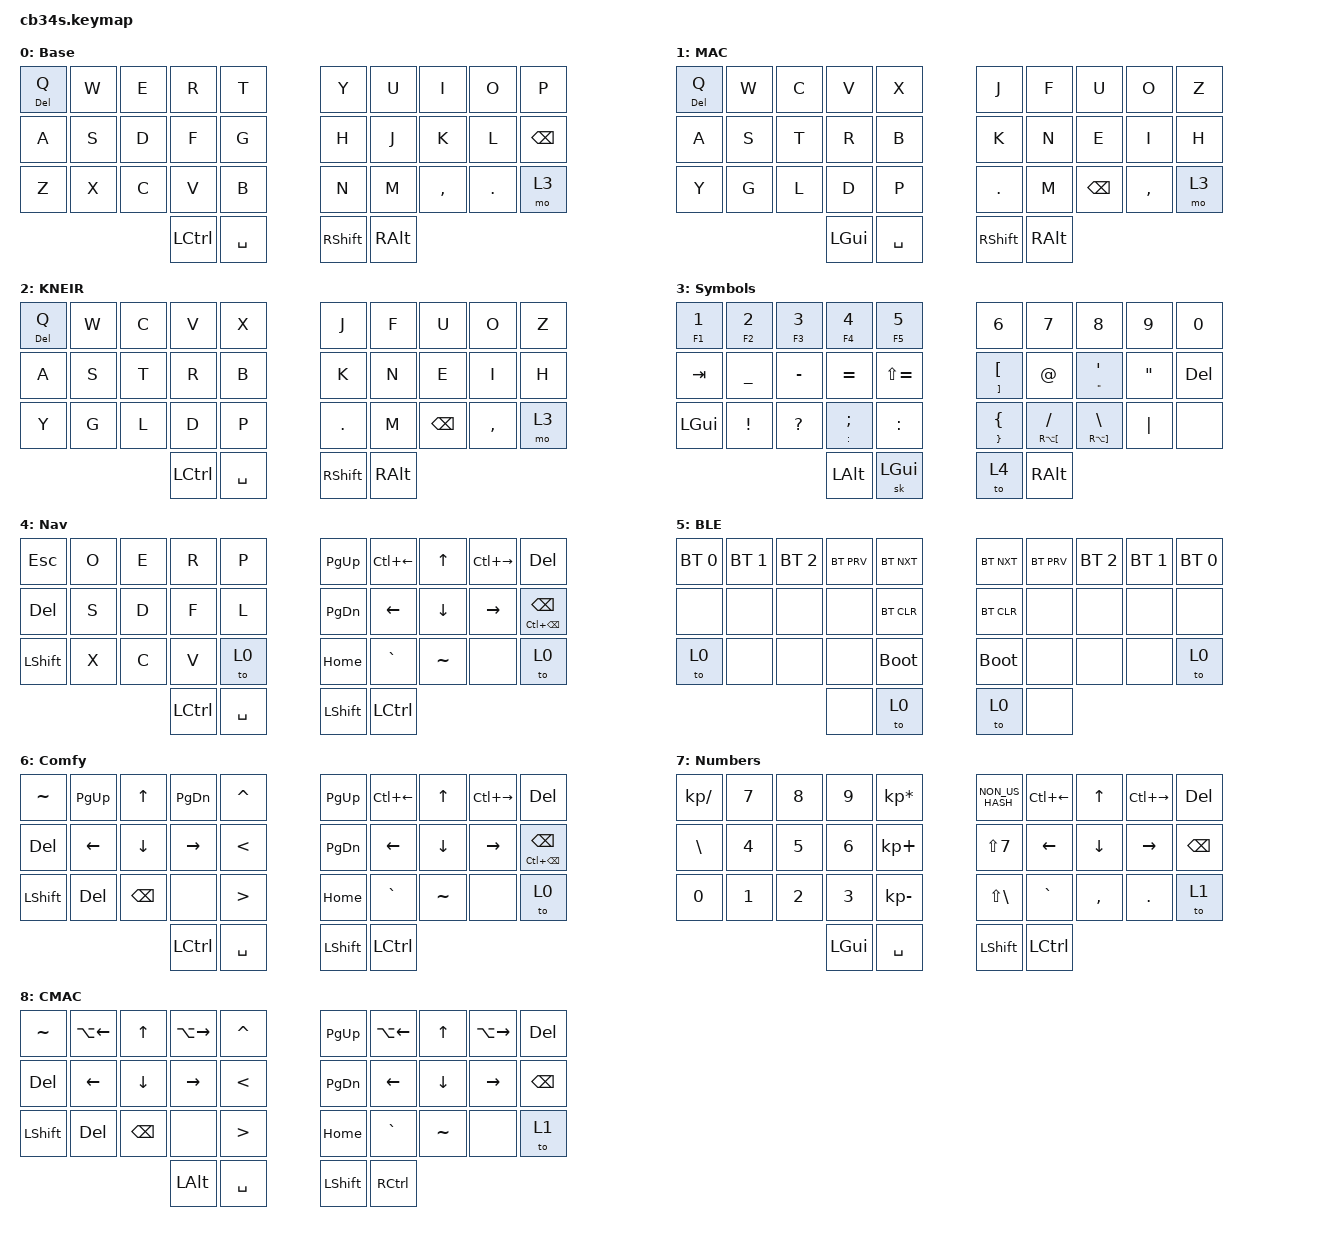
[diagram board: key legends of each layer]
/*
 * Copyright (c) 2020 The ZMK Contributors
 *
 * SPDX-License-Identifier: MIT
 */

#include <behaviors.dtsi>
#include <dt-bindings/zmk/keys.h>
#include <dt-bindings/zmk/bt.h>
#include "keymap_eurkey_swiss_de.h"

#define DEFAULT_L 	0
#define MAC_L	    1
#define KNEIR_L     2
#define NUMSYM_L 	3
#define NAV_L 		4
#define BLE_L 		5
#define COMFY_L		6
#define NUMBERS_L	7
#define COMMA_L	    8

// Using layer taps on thumbs, having quick tap as well helps w/ repeating space/backspace

&lt {
    quick_tap_ms = <200>;
};

// Sticky Layer Behavior - release sticky behavior after x ms

&sk {
    release-after-ms = <1800>;
};

// MACROS
// ===========================================================================================================
/*
	.----------------------------------------------------------------------.
	|  0  |  1  |  2  |  3  |  4  |          |  5  |  6  |  7  |  8  |  9  |
	|  10 |  11 |  12 |  13 |  14 |          |  15 |  16 |  17 |  18 |  19 |
	|  20 |  21 |  22 |  23 |  24 |          |  25 |  26 |  27 |  28 |  29 |
	'-----------------\  30 |  31 |          |  32 |  33 /-----------------'
	                   '--------------------------------'

*/
    / {
    macros {
        macro_sch: macro_sch {
            label = "Macro_sch";
            compatible = "zmk,behavior-macro";
            #binding-cells = <0>;
            bindings = <
                &macro_tap &kp S
                &macro_release &kp RSHIFT
                &macro_tap &kp C &kp H
            >;
            tap-ms = <20>;
            };
        
        macro_ch: macro_ch {
            label = "Macro_ch";
            compatible = "zmk,behavior-macro";
            #binding-cells = <0>;
            bindings = <
                &macro_tap &kp C
                &macro_release &kp RSHIFT
                &macro_tap &kp H
            >;
            tap-ms = <20>;
            };

        macro_zu: macro_zu {
            label = "Macro_zu";
            compatible = "zmk,behavior-macro";
            #binding-cells = <0>;
            bindings = <
                &macro_tap &kp Z
                &macro_release &kp RSHIFT
                &macro_tap &kp U
            >;
            tap-ms = <20>;
            };

        };
    };

// COMBOS
// ===========================================================================================================
/*
	.----------------------------------------------------------------------.
	|  0  |  1  |  2  |  3  |  4  |          |  5  |  6  |  7  |  8  |  9  |
	|  10 |  11 |  12 |  13 |  14 |          |  15 |  16 |  17 |  18 |  19 |
	|  20 |  21 |  22 |  23 |  24 |          |  25 |  26 |  27 |  28 |  29 |
	'-----------------\  30 |  31 |          |  32 |  33 /-----------------'
	                   '--------------------------------'
			
	ESC 	= 0 | 1			
	TAB 	= 11 | 12		LC(C)	= 17 | 18
							LC(V)	= 27 | 28
	ENTER 	= 12 | 13		SK(SFT) = 16 | 17       
	LPAR 	= 13 | 14		RPAR 	= 15 | 16       REPEAT 	= 18 | 19

	TO_4	= 21 | 22
	TO_0	= 22 | 23       TO_0	= 26 | 27 
	TO_3	= 20 | 21 | 22	TO_3	= 27 | 28 | 29
    TO_5    = 3  | 13       TO_5    = 6  | 16

*/

/ {
    combos {
        compatible = "zmk,combos";

        combo_esc {
            timeout-ms = <40>;
            key-positions = <0 1>;
            bindings = <&kp ESC>;
        };

        combo_tab {
            timeout-ms = <40>;
            key-positions = <11 12>;
            bindings = <&kp TAB>;
        };

        combo_enter {
            timeout-ms = <40>;
            key-positions = <12 13>;
            bindings = <&kp ENTER>;
        };

        combo_lpar {
            timeout-ms = <40>;
            key-positions = <13 14>;
            bindings = <&kp LPAR>;
        };

        combo_rpar {
            timeout-ms = <40>;
            key-positions = <15 16>;
            bindings = <&kp RPAR>;
        };

        combo_comfy_left {
            timeout-ms = <40>;
            key-positions = <21 22>;
            bindings = <&to COMFY_L>;
            layers = <0 2 3 4 5 6>;
        };

        combo_comfy_right {
            timeout-ms = <40>;
            key-positions = <27 28>;
            bindings = <&to COMFY_L>;
            layers = <0 2 3 4 5 6>;
        };

        combo_default_left {
            timeout-ms = <40>;
            key-positions = <22 23>;
            bindings = <&to DEFAULT_L>;
            layers = <4 5 6 7>;
        };

        combo_sk_shift {
            timeout-ms = <40>;
            key-positions = <16 17>;
            bindings = <&sk LSHIFT>;
        };

        combo_ble_left {
            timeout-ms = <40>;
            key-positions = <20 21 22>;
            bindings = <&to BLE_L>;
        };

        // CHECK

        combo_repeat {
            timeout-ms = <40>;
            key-positions = <18 19>;
            bindings = <&key_repeat>;
        };

        combo_default_left_MAC {
            timeout-ms = <40>;
            key-positions = <22 23>;
            bindings = <&to 1>;
            layers = <1 7 8>;
        };

        combo_comfy_left_MAC {
            timeout-ms = <40>;
            key-positions = <21 22>;
            bindings = <&to 8>;
            layers = <1 7 8>;
        };


        // BASE LAYERS

        combo_kneir_mac_layer {
            timeout-ms = <40>;
            key-positions = <6 9>;
            bindings = <&to 1>;
            layers = <0 2 3 4 5 6 7 8>;
        };

        combo_kneir_win_layer {
            timeout-ms = <40>;
            key-positions = <10 13>;
            bindings = <&to 2>;
            layers = <0 1 2 3 4 5 6 7 8>;
        };

        combo_qwerty_win_layer {
            timeout-ms = <40>;
            key-positions = <0 3>;
            bindings = <&to 0>;
            layers = <1 2 6 7 8>;
        };

        combo_number_layer_left {
            timeout-ms = <40>;
            key-positions = <20 23>;
            bindings = <&to NUMBERS_L>;
        };

        // SYMBOLS

        combo_dot {
            timeout-ms = <40>;
            key-positions = <26 27>;
            bindings = <&kp DOT>;
            layers = <2 6 7 8>;
        };

        combo_letter_percent {
            timeout-ms = <40>;
            key-positions = <27 28 29>;
            bindings = <&kp PERCENT>;
            layers = <2>;
        };


        // ALPHAS

        combo_letter_q {
            timeout-ms = <40>;
            key-positions = <1 2>;
            bindings = <&kp Q>;
            layers = <2>;
        };

        combo_letter_p {
            timeout-ms = <40>;
            key-positions = <2 3>;
            bindings = <&kp P>;
            layers = <2>;
        };

        combo_letter_b {
            timeout-ms = <40>;
            key-positions = <22 23>;
            bindings = <&kp B>;
            layers = <2>;
        };

        combo_letter_j {
            timeout-ms = <40>;
            key-positions = <6 7>;
            bindings = <&kp J>;
            layers = <2>;
        };

        combo_letter_k {
            timeout-ms = <40>;
            key-positions = <27 28>;
            bindings = <&kp K>;
        };

        // MACROS

        combo_sch {
            timeout-ms = <40>;
            key-positions = <2 11>;
            bindings = <&macro_sch>;
            layers = <2>;
        };

        combo_ch {
            timeout-ms = <40>;
            key-positions = <2 13>;
            bindings = <&macro_ch>;
            layers = <2>;
        };

        combo_zu {
            timeout-ms = <40>;
            key-positions = <7 8>;
            bindings = <&macro_zu>;
            layers = <2>;
        };

    };


    // BEHAVIOR    
    // ===========================================================================================================

    behaviors {
        hm: homerow_mods {
            compatible = "zmk,behavior-hold-tap";
            label = "homerow mods";
            #binding-cells = <2>;
            tapping_term_ms = <170>;
            quick_tap_ms = <0>;
            flavor = "tap-preferred";
            bindings =
                <&kp>,
                <&kp>;
        };
    };

    // KEYMAP
    // ===========================================================================================================
    // -----------------------------------------------------------------------------
    /* 0 = Default
        .----------------------------------------------------------------------.
        |Q DEL|  W  |  E  |  R  |  T  |          |  Y  |  U  |  I  |  O  |  P  |
        |  A  |  S  |  D  |  F  |  G  |          |  H  |  J  |  K  |  L  |BKSPC|
        |  Z  |  X  |  C  |  V  |  B  |          |  N  |  M  |  ,  |  .  |MO_3 |
        '-----------------\ CTRL| SPC |          | SFT | RALT/-----------------'
                           '--------------------------------'
    */

    keymap {
        compatible = "zmk,keymap";

        default_layer {
            label = "Base";
            bindings = <
&mt DEL Q  &kp W  &kp E      &kp R      &kp T           &kp Y        &kp U      &kp I     &kp O    &kp P
    &kp A  &kp S  &kp D      &kp F      &kp G           &kp H        &kp J      &kp K     &kp L    &kp BACKSPACE
    &kp Z  &kp X  &kp C      &kp V      &kp B           &kp N        &kp M      &kp COMMA &kp DOT  &mo 3
                             &kp LCTRL  &kp SPACE       &kp RSHIFT   &kp RALT
            >;
        };
    
    // ===========================================================================================================
    // -----------------------------------------------------------------------------
    /* 1 = Default MAC
        .----------------------------------------------------------------------.
        |Q DEL|  W  |  C  |  V  |  X  |          |  J  |  F  |  U  |  O  |  Z  |
        |  A  |  S  |  T  |  R  |  B  |          |  K  |  N  |  E  |  I  |  H  |
        |  Y  |  G  |  L  |  D  |  P  |          |  .  |BKSPC|  K  |  ,  |MO_3 |
        '-----------------\ CTRL| SPC |          | SFT | RALT/-----------------'
                           '--------------------------------'
        */

        MAC_layer {
            label = "MAC";
            bindings = <
&mt DEL Q  &kp W  &kp C      &kp V      &kp X           &kp J        &kp F      &kp U     &kp O    &kp Z
    &kp A  &kp S  &kp T      &kp R      &kp B           &kp K        &kp N      &kp E     &kp I    &kp H
    &kp Y  &kp G  &kp L      &kp D      &kp P           &kp DOT      &kp M      &kp BACKSPACE  &kp COMMA  &mo 3
                             &kp LGUI   &kp SPACE       &kp RSHIFT   &kp RALT
            >;
        };

    // ===========================================================================================================
    // -----------------------------------------------------------------------------
    /* 2 = KNEIR Layout
        .----------------------------------------------------------------------.
        |Q DEL|  W  |  C  |  V  |  X  |          |  J  |  F  |  U  |  O  |  Z  |
        |  A  |  S  |  T  |  R  |  B  |          |  K  |  N  |  E  |  I  |  H  |
        |  Y  |  G  |  L  |  D  |  P  |          |  .  |BKSPC|  K  |  ,  |MO_3 |
        '-----------------\ CTRL| SPC |          | SFT | RALT/-----------------'
                           '--------------------------------'
        */

        KNEIR_layer {
            label = "KNEIR";
            bindings = <
&mt DEL Q  &kp W  &kp C      &kp V      &kp X           &kp J        &kp F      &kp U     &kp O    &kp Z
    &kp A  &kp S  &kp T      &kp R      &kp B           &kp K        &kp N      &kp E     &kp I    &kp H
    &kp Y  &kp G  &kp L      &kp D      &kp P           &kp DOT      &kp M      &kp BACKSPACE  &kp COMMA  &mo 3
                             &kp LCTRL  &kp SPACE       &kp RSHIFT   &kp RALT
            >;
        };


        // ===========================================================================================================
        // -----------------------------------------------------------------------------
        /* 3 = Numbers and Symbols
        .----------------------------------------------------------------------.
        | 1 F1|2 F2 |3 F3 |4 F4 |5 F5 |          |  6  |  7  |  8  |  9  |  0  |
        | TAB |  _  |  -  |  =  |  +  |          | [ ] |  @  | ' " |  "  | DEL |
        | LGUI|  !  |  ?  | ; : |  :  |          | { } | / « | \ » |  |  |     |
        '-----------------\ LALT| SFT |          |TO_4 |     /-----------------'
                           '--------------------------------'
        */

        numsym_layer {
            label = "Symbols";
            bindings = <
    &mt F1 N1  &mt F2 N2  &mt F3 N3  &mt F4 N4      &mt F5 N5           &kp N6          &kp N7      &kp N8      &kp N9   &kp N0
    &kp TAB    &kp UNDER  &kp MINUS  &kp EQUAL      &kp LS(EQUAL)       &mt RBKT LBKT   &kp AT      &mt DQT SQT &kp DQT  &kp DEL
    &kp LGUI   &kp EXCL   &kp QMARK  &mt COLON SEMI &kp COLON           &mt RBRC LBRC   &mt RA(LBKT) FSLH  &mt RA(RBKT) BSLH &kp PIPE &none
                                     &kp LALT       &sk LEFT_GUI        &to 4    &kp RALT
            >;
        };

        // ===========================================================================================================
        // -----------------------------------------------------------------------------
        /* 4 = Navigation
        .----------------------------------------------------------------------.
        | ESC |  O  |  E  |  R  |  P  |          |PGUP | ← ← |  ↑  | → → | DEL |
        | DEL |  S  |  D  |  F  |  L  |          |PGDN |  ←  |  ↓  |  →  |BKSPC|
        | SFT |  X  |  C  |  V  |TO_0 |          |HOME |  `  |  ~  |     |TO_0 |
        '-----------------\ CTRL| SPC |          |SHFT |CTRL /-----------------'
                           '--------------------------------'
        */

        nav_layer {
            label = "Nav";
            bindings = <
   &kp ESC     &kp O  &kp E      &kp R      &kp P           &kp PG_UP   &kp LC(LEFT) &kp UP     &kp LC(RIGHT) &kp DEL
   &kp DEL     &kp S  &kp D      &kp F      &kp L           &kp PG_DN   &kp LEFT     &kp DOWN   &kp RIGHT  	  &mt LC(BACKSPACE) BACKSPACE
   &kp LSHIFT  &kp X  &kp C      &kp V      &to 0           &kp HOME    &kp GRAVE    &kp TILDE  &none		  &to 0
                          		 &kp LCTRL  &kp SPACE       &kp LSHIFT  &kp LCTRL
            >;
        };

        // ===========================================================================================================
        // -----------------------------------------------------------------------------
        /* 5 = Bluetooth
        .----------------------------------------------------------------------.
        | BT0 | BT1 | BT2 | BTP | BTN |     	 | BTN | BTP | BT2 | BT1 | BT0 |
        |     |     |     |     | BLC |     	 | BLC |     |     |     |     |
        |TO_0 |     |     |     | BLO |          | BLO |     |     |	 |TO_0 |
        '-----------------\     |TO_0 |          |TO_0 |     /-----------------'
                           '--------------------------------'
        */

        ble_layer {
            label = "BLE";
            bindings = <
&bt BT_SEL 0  	&bt BT_SEL 1  &bt BT_SEL 2  &bt BT_PRV  &bt BT_NXT		&bt BT_NXT	&bt BT_PRV  &bt BT_SEL 2  &bt BT_SEL 1  &bt BT_SEL 0
&none    	    &none         &none         &none	    &bt BT_CLR    	&bt BT_CLR  &none       &none         &none         &none
&to 0 		    &none         &none         &none       &bootloader    	&bootloader &none       &none         &none         &to 0
                                	        &none       &to 0          	&to 0       &none
            >;
        };

        // ===========================================================================================================
        // -----------------------------------------------------------------------------
        /* 6 = Comfort
        .----------------------------------------------------------------------.
        | TIL |PGUP |  ↑  |PGDN |  ^  |     	 |PGUP | ← ← |  ↑  | → → | DEL |
        | DEL |  ←  |  ↓  |  →  |  <  |     	 |PGDN |  ←  |  ↓  |  →  |BKSPC|
        | SFT | DEL |BKSPC|     |  >  |          |HOME |  `  |  ~  |     |TO_0 |
        '-----------------\ CTRL| SPC |          |SHFT |CTRL /-----------------'
                           '--------------------------------'
        */

        comfy_layer {
            label = "Comfy";
            bindings = <
 &kp TILDE  &kp PG_UP    &kp UP         &kp PG_DN     &kp CARET            &kp PG_UP   &kp LC(LEFT) &kp UP     &kp LC(RIGHT)  &kp DEL
 &kp DEL    &kp LEFT     &kp DOWN       &kp RIGHT     &kp LESS_THAN        &kp PG_DN   &kp LEFT     &kp DOWN   &kp RIGHT  	  &mt LC(BACKSPACE) BACKSPACE
 &kp LSHIFT &kp DEL      &kp BACKSPACE  &none         &kp GREATER_THAN     &kp HOME    &kp GRAVE    &kp TILDE  &none		  &to 0
                                        &kp LCTRL     &kp SPACE            &kp LSHIFT  &kp LCTRL
            >;
        };

        // ===========================================================================================================
        // -----------------------------------------------------------------------------
        /* 7 = Numbers
        .----------------------------------------------------------------------.
        |  /  |  7  |  8  |  9  |  *  |     	 |  #  | ← ← |  ↑  | → → | DEL |
        |  \  |  4  |  5  |  6  |  +  |     	 |  &  |  ←  |  ↓  |  →  |BKSPC|
        |  0  |  1  |  2  |  3  |  -  |          |  |  |  `  |  ,  |  .  |TO_1 |
        '-----------------\ LGUI| SPC |          |SHFT |LCTRL/-----------------'
                           '--------------------------------'
        */

        numbers_layer {
            label = "Numbers";
            bindings = <
 &kp KP_DIVIDE  &kp N7   &kp N8   &kp N9      &kp KP_MULTIPLY      &kp NON_US_HASH   &kp LC(LEFT)  &kp UP    &kp LC(RIGHT) &kp DEL
 &kp BACKSLASH  &kp N4   &kp N5   &kp N6      &kp KP_PLUS          &kp LS(N7)        &kp LEFT      &kp DOWN  &kp RIGHT     &kp BACKSPACE
 &kp N0         &kp N1   &kp N2   &kp N3      &kp KP_MINUS         &kp LS(BACKSLASH) &kp GRAVE     &kp COMMA &kp DOT       &to 1
                                  &kp LGUI    &kp SPACE            &kp LSHIFT        &kp LCTRL
            >;
        };

        // ===========================================================================================================
        // -----------------------------------------------------------------------------
        /* 8 = Comfort MAC
        .----------------------------------------------------------------------.
        | TIL | ← ← |  ↑  | → → |  ^  |     	 |PGUP | ← ← |  ↑  | → → | DEL |
        | DEL |  ←  |  ↓  |  →  |  <  |     	 |PGDN |  ←  |  ↓  |  →  |BKSPC|
        | SFT | DEL |BKSPC|     |  >  |          |HOME |  `  |  ~  |     |TO_1 |
        '-----------------\LALT | SPC |          |SHFT |RCTRL/-----------------'
                           '--------------------------------'
        */

        macnav_layer {
            label = "CMAC";
            bindings = <
 &kp TILDE  &kp LA(LEFT) &kp UP         &kp LA(RIGHT) &kp CARET            &kp PG_UP   &kp LA(LEFT) &kp UP     &kp LA(RIGHT)  &kp DEL
 &kp DEL    &kp LEFT     &kp DOWN       &kp RIGHT     &kp LESS_THAN        &kp PG_DN   &kp LEFT     &kp DOWN   &kp RIGHT  	  &kp BACKSPACE
 &kp LSHIFT &kp DEL      &kp BACKSPACE  &none         &kp GREATER_THAN     &kp HOME    &kp GRAVE    &kp TILDE  &none		  &to 1
                                        &kp LALT      &kp SPACE            &kp LSHIFT  &kp RCTRL
            >;
        };
    };
};

// ===========================================================================================================
